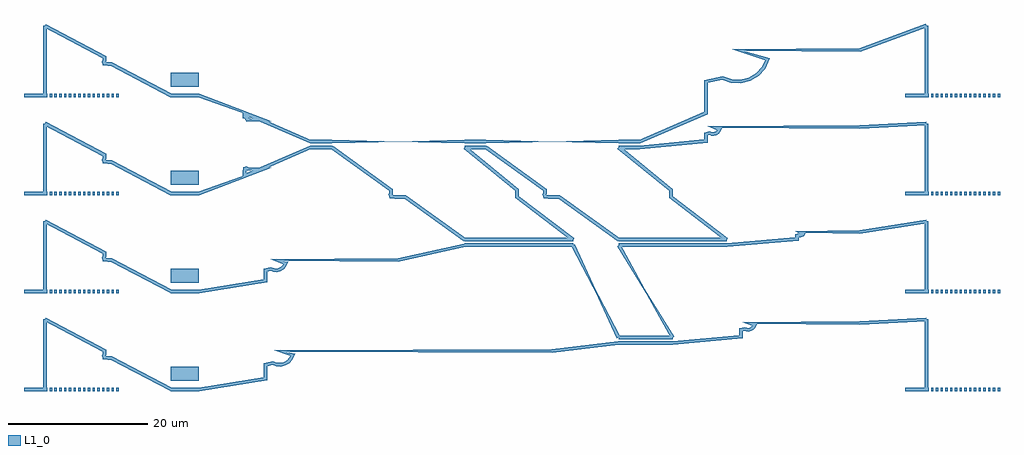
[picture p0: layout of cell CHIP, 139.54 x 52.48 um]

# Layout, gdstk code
import gdstk
lib = gdstk.Library(unit=1e-6, precision=1e-09)
def R(c, l, rs):  # rectangles x0, y0, x1, y1
    for r in rs: c.add(gdstk.rectangle(r[:2], r[2:], *l))
def A(c, l, x, y, w, h, nx, ny, dx, dy):  # array of equal rectangles
    R(c, l, [(x+i*dx, y+j*dy, x+i*dx+w, y+j*dy+h) for i in range(nx) for j in range(ny)])
L1_0 = (1, 0)

chip = lib.new_cell('CHIP')
A(chip, L1_0, -15, -0.25, 0.34, 0.5, 16, 4, 0.68, 14)
A(chip, L1_0, 3, -0.25, 4, 0.5, 1, 4, 0, 14)
A(chip, L1_0, 111, -0.25, 0.34, 0.5, 16, 4, 0.68, 14)
A(chip, L1_0, 3, 1.25, 4, 2, 1, 4, 0, 14)
chip.add(gdstk.FlexPath([(-15,0),(-15,10)], 0.5, ends="flush", simple_path=True, layer=1, datatype=0))  # L1_0
chip.add(gdstk.FlexPath([(111,0),(111,10)], 0.5, ends="flush", simple_path=True, layer=1, datatype=0))  # L1_0
chip.add(gdstk.FlexPath([(-15,14),(-15,24)], 0.5, ends="flush", simple_path=True, layer=1, datatype=0))  # L1_0
chip.add(gdstk.FlexPath([(111,14),(111,24)], 0.5, ends="flush", simple_path=True, layer=1, datatype=0))  # L1_0
chip.add(gdstk.FlexPath([(-15,28),(-15,38)], 0.5, ends="flush", simple_path=True, layer=1, datatype=0))  # L1_0
chip.add(gdstk.FlexPath([(111,28),(111,38)], 0.5, ends="flush", simple_path=True, layer=1, datatype=0))  # L1_0
chip.add(gdstk.FlexPath([(-15,42),(-15,52)], 0.5, ends="flush", simple_path=True, layer=1, datatype=0))  # L1_0
chip.add(gdstk.FlexPath([(111,42),(111,52)], 0.5, ends="flush", simple_path=True, layer=1, datatype=0))  # L1_0
chip.add(gdstk.FlexPath([(67,35.4),(70,35.4)], 0.5, ends="flush", simple_path=True, layer=1, datatype=0))  # L1_0
chip.add(gdstk.FlexPath([(67,34.6),(70,34.6)], 0.5, ends="flush", simple_path=True, layer=1, datatype=0))  # L1_0
chip.add(gdstk.FlexPath([(67,21.4),(82.5,21.4)], 0.5, ends="flush", simple_path=True, layer=1, datatype=0))  # L1_0
chip.add(gdstk.FlexPath([(67,20.6),(82.5,20.6)], 0.5, ends="flush", simple_path=True, layer=1, datatype=0))  # L1_0
chip.add(gdstk.FlexPath([(67,7.4),(74.75,7.4)], 0.5, ends="flush", simple_path=True, layer=1, datatype=0))  # L1_0
chip.add(gdstk.FlexPath([(67,6.6),(74.75,6.6)], 0.5, ends="flush", simple_path=True, layer=1, datatype=0))  # L1_0
chip.add(gdstk.FlexPath([(45,35.4),(48,35.4)], 0.5, ends="flush", simple_path=True, layer=1, datatype=0))  # L1_0
chip.add(gdstk.FlexPath([(45,34.6),(48,34.6)], 0.5, ends="flush", simple_path=True, layer=1, datatype=0))  # L1_0
chip.add(gdstk.FlexPath([(45,21.4),(60.5,21.4)], 0.5, ends="flush", simple_path=True, layer=1, datatype=0))  # L1_0
chip.add(gdstk.FlexPath([(45,20.6),(60.5,20.6)], 0.5, ends="flush", simple_path=True, layer=1, datatype=0))  # L1_0
chip.add(gdstk.FlexPath([(23,35.4),(26,35.4)], 0.5, ends="flush", simple_path=True, layer=1, datatype=0))  # L1_0
chip.add(gdstk.FlexPath([(23,34.6),(26,34.6)], 0.5, ends="flush", simple_path=True, layer=1, datatype=0))  # L1_0
chip.add(gdstk.FlexPath([(-15,10),(-6.5,5.5),(-6.5,5),(-6.614,4.817),(-6.584,4.778),(-6.559,4.736),(-6.538,4.691),(-6.521,4.645),(-6.51,4.598),(-6.502,4.549),(-6,4.5),(-5.5,4.5),(3,0)], 0.5, ends="flush", simple_path=True, layer=1, datatype=0))  # L1_0
chip.add(gdstk.FlexPath([(-15,24),(-6.5,19.5),(-6.5,19),(-6.614,18.817),(-6.584,18.778),(-6.559,18.736),(-6.538,18.691),(-6.521,18.645),(-6.51,18.598),(-6.502,18.549),(-6,18.5),(-5.5,18.5),(3,14)], 0.5, ends="flush", simple_path=True, layer=1, datatype=0))  # L1_0
chip.add(gdstk.FlexPath([(-15,38),(-6.5,33.5),(-6.5,33),(-6.614,32.817),(-6.584,32.778),(-6.559,32.736),(-6.538,32.691),(-6.521,32.645),(-6.51,32.597),(-6.502,32.549),(-6,32.5),(-5.5,32.5),(3,28)], 0.5, ends="flush", simple_path=True, layer=1, datatype=0))  # L1_0
chip.add(gdstk.FlexPath([(-15,52),(-6.5,47.5),(-6.5,47),(-6.614,46.817),(-6.584,46.778),(-6.559,46.736),(-6.538,46.691),(-6.521,46.645),(-6.51,46.597),(-6.502,46.549),(-6,46.5),(-5.5,46.5),(3,42)], 0.5, ends="flush", simple_path=True, layer=1, datatype=0))  # L1_0
chip.add(gdstk.FlexPath([(7,28),(16.5,31.5),(14,31.5),(13.817,31.613),(13.778,31.584),(13.736,31.559),(13.691,31.538),(13.645,31.522),(13.598,31.51),(13.549,31.502),(13.5,31),(13.5,30.5),(23,34.6)], 0.5, ends="flush", simple_path=True, layer=1, datatype=0))  # L1_0
chip.add(gdstk.FlexPath([(7,42),(16.5,38.5),(14,38.5),(13.886,38.683),(13.916,38.722),(13.941,38.764),(13.962,38.809),(13.978,38.855),(13.99,38.902),(13.998,38.951),(13.5,39),(13.5,39.5),(23,35.4)], 0.5, ends="flush", simple_path=True, layer=1, datatype=0))  # L1_0
chip.add(gdstk.FlexPath([(7,14),(16.5,15.5),(16.5,17),(17.293,17.177),(17.707,17.029),(18.147,17.007),(18.574,17.114),(18.952,17.34),(19.247,17.667),(19.435,18.065),(18,18.5),(35.5,18.5),(45,20.6)], 0.5, ends="flush", simple_path=True, layer=1, datatype=0))  # L1_0
chip.add(gdstk.FlexPath([(26,34.6),(34.5,28.5),(34.5,28),(34.386,27.817),(34.416,27.778),(34.441,27.736),(34.462,27.691),(34.478,27.645),(34.49,27.598),(34.498,27.549),(35,27.5),(36.5,27.5),(45,21.4)], 0.5, ends="flush", simple_path=True, layer=1, datatype=0))  # L1_0
chip.add(gdstk.FlexPath([(60.5,21.4),(52.5,27.5),(52.5,28.5),(45,34.6)], 0.5, ends="flush", simple_path=True, layer=1, datatype=0))  # L1_0
chip.add(gdstk.FlexPath([(26,35.4),(36,35.4),(35,35.4),(45,35.4)], 0.5, ends="flush", simple_path=True, layer=1, datatype=0))  # L1_0
chip.add(gdstk.FlexPath([(7,0),(16.5,1.5),(16.5,3.5),(17.557,3.736),(18.11,3.538),(18.696,3.51),(19.265,3.652),(19.769,3.954),(20.163,4.389),(20.414,4.919),(18.5,5.5),(57.5,5.5),(67,6.6)], 0.5, ends="flush", simple_path=True, layer=1, datatype=0))  # L1_0
chip.add(gdstk.FlexPath([(60.5,20.6),(64.918,11.629),(62.582,16.371),(67,7.4)], 0.5, ends="flush", simple_path=True, layer=1, datatype=0))  # L1_0
chip.add(gdstk.FlexPath([(74.75,7.4),(69.687,16.023),(72.063,11.976),(67,20.6)], 0.5, ends="flush", simple_path=True, layer=1, datatype=0))  # L1_0
chip.add(gdstk.FlexPath([(48,34.6),(56.5,28.5),(56.5,28),(56.386,27.817),(56.416,27.778),(56.441,27.736),(56.462,27.691),(56.478,27.645),(56.49,27.598),(56.498,27.549),(57,27.5),(58.5,27.5),(67,21.4)], 0.5, ends="flush", simple_path=True, layer=1, datatype=0))  # L1_0
chip.add(gdstk.FlexPath([(82.5,21.4),(74.5,27.5),(74.5,28.5),(67,34.6)], 0.5, ends="flush", simple_path=True, layer=1, datatype=0))  # L1_0
chip.add(gdstk.FlexPath([(48,35.4),(58,35.4),(57,35.4),(67,35.4)], 0.5, ends="flush", simple_path=True, layer=1, datatype=0))  # L1_0
chip.add(gdstk.FlexPath([(74.75,6.6),(84.5,7.5),(84.5,8.5),(85.029,8.618),(85.305,8.519),(85.598,8.505),(85.883,8.576),(86.134,8.727),(86.332,8.944),(86.457,9.21),(85.5,9.5),(101.5,9.5),(111,10)], 0.5, ends="flush", simple_path=True, layer=1, datatype=0))  # L1_0
chip.add(gdstk.FlexPath([(82.5,20.6),(92.5,21.5),(92.5,22),(92.764,22.059),(92.902,22.01),(93.049,22.002),(93.191,22.038),(93.317,22.113),(93.416,22.222),(93.478,22.355),(93,22.5),(101.5,22.5),(111,24)], 0.5, ends="flush", simple_path=True, layer=1, datatype=0))  # L1_0
chip.add(gdstk.FlexPath([(70,34.6),(79.5,35.5),(79.5,36.5),(80.029,36.618),(80.305,36.519),(80.598,36.505),(80.883,36.576),(81.134,36.727),(81.332,36.944),(81.457,37.21),(80.5,37.5),(101.5,37.5),(111,38)], 0.5, ends="flush", simple_path=True, layer=1, datatype=0))  # L1_0
chip.add(gdstk.FlexPath([(70,35.4),(79.5,39.5),(79.5,44),(81.879,44.531),(83.122,44.086),(84.441,44.022),(85.722,44.342),(86.855,45.022),(87.742,46),(88.306,47.194),(84,48.5),(101.5,48.5),(111,52)], 0.5, ends="flush", simple_path=True, layer=1, datatype=0))  # L1_0
chip.add(gdstk.FlexPath([(-18,0),(-15,0)], 0.5, ends="flush", simple_path=True, layer=1, datatype=0))  # L1_0
chip.add(gdstk.FlexPath([(108,0),(111,0)], 0.5, ends="flush", simple_path=True, layer=1, datatype=0))  # L1_0
chip.add(gdstk.FlexPath([(-18,14),(-15,14)], 0.5, ends="flush", simple_path=True, layer=1, datatype=0))  # L1_0
chip.add(gdstk.FlexPath([(108,14),(111,14)], 0.5, ends="flush", simple_path=True, layer=1, datatype=0))  # L1_0
chip.add(gdstk.FlexPath([(-18,28),(-15,28)], 0.5, ends="flush", simple_path=True, layer=1, datatype=0))  # L1_0
chip.add(gdstk.FlexPath([(108,28),(111,28)], 0.5, ends="flush", simple_path=True, layer=1, datatype=0))  # L1_0
chip.add(gdstk.FlexPath([(-18,42),(-15,42)], 0.5, ends="flush", simple_path=True, layer=1, datatype=0))  # L1_0
chip.add(gdstk.FlexPath([(108,42),(111,42)], 0.5, ends="flush", simple_path=True, layer=1, datatype=0))  # L1_0

lib.write_gds('CHIP.gds')
